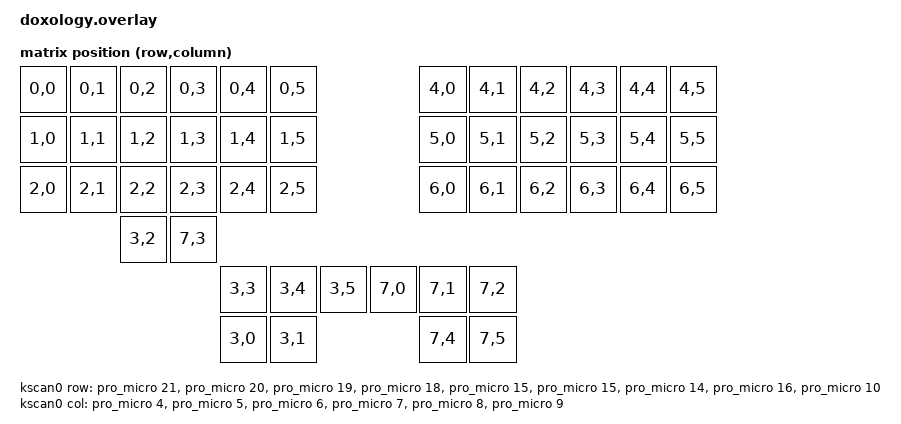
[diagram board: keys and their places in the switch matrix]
/*
 * Copyright (c) 2022 The ZMK Contributors
 *
 * SPDX-License-Identifier: MIT
 */

#include <dt-bindings/zmk/matrix_transform.h>



&pinctrl {
    spi0_default: spi0_default {
        group1 {
            psels = <NRF_PSEL(SPIM_SCK, 0, 8)>,
                <NRF_PSEL(SPIM_MOSI, 0, 17)>,
                <NRF_PSEL(SPIM_MISO, 0, 17)>;
        };
    };

    spi0_sleep: spi0_sleep {
        group1 {
            psels = <NRF_PSEL(SPIM_SCK, 0, 8)>,
                <NRF_PSEL(SPIM_MOSI, 0, 17)>,
                <NRF_PSEL(SPIM_MISO, 0, 17)>;
            low-power-enable;
        };
    };
};

&spi0 {
    status = "okay";
    compatible = "nordic,nrf-spim";
    pinctrl-0 = <&spi0_default>;
    pinctrl-1 = <&spi0_sleep>;
    pinctrl-names = "default", "sleep";
    cs-gpios = <&gpio0 20 GPIO_ACTIVE_LOW>;

    trackball: trackball@0 {
        status = "okay";
        compatible = "pixart,pmw3610";
        reg = <0>;
        spi-max-frequency = <2000000>;
        irq-gpios = <&gpio0 6 (GPIO_ACTIVE_LOW | GPIO_PULL_UP)>;
        cpi = <600>;
        evt-type = <INPUT_EV_REL>;
        x-input-code = <INPUT_REL_X>;
        y-input-code = <INPUT_REL_Y>;
    };
};

/ {
  trackball_listener {
    compatible = "zmk,input-listener";
    device = <&trackball>;
  };
   
    chosen {
        zmk,kscan = &kscan0;
        zmk,matrix-transform = &default_transform;
    /delete-property/ zephyr,console;
    /delete-property/ zephyr,shell-uart;
    };

    default_transform: keymap_transform_0 {
        compatible = "zmk,matrix-transform";
        columns = <6>;
        rows = <4>;
        map = <
            RC(0,0) RC(0,1) RC(0,2) RC(0,3) RC(0,4) RC(0,5)                      RC(4,0) RC(4,1) RC(4,2) RC(4,3) RC(4,4) RC(4,5)
            RC(1,0) RC(1,1) RC(1,2) RC(1,3) RC(1,4) RC(1,5)                      RC(5,0) RC(5,1) RC(5,2) RC(5,3) RC(5,4) RC(5,5)
            RC(2,0) RC(2,1) RC(2,2) RC(2,3) RC(2,4) RC(2,5)                      RC(6,0) RC(6,1) RC(6,2) RC(6,3) RC(6,4) RC(6,5)
                            RC(3,2) RC(7,3)

                                            RC(3,3) RC(3,4) RC(3,5)      RC(7,0) RC(7,1) RC(7,2)
                                            RC(3,0) RC(3,1)                      RC(7,4) RC(7,5)
        >;
    };


    kscan0: kscan_0 {
        compatible = "zmk,kscan-gpio-matrix";
        wakeup-source;

        diode-direction = "col2row"; // Put the black side of diodes to the row wire


	col-gpios
		= <&pro_micro 4 (GPIO_ACTIVE_HIGH | GPIO_PULL_DOWN)>
		, <&pro_micro 5 (GPIO_ACTIVE_HIGH | GPIO_PULL_DOWN)>
		, <&pro_micro 6 (GPIO_ACTIVE_HIGH | GPIO_PULL_DOWN)>
		, <&pro_micro 7 (GPIO_ACTIVE_HIGH | GPIO_PULL_DOWN)>
		, <&pro_micro 8 (GPIO_ACTIVE_HIGH | GPIO_PULL_DOWN)>
		, <&pro_micro 9 (GPIO_ACTIVE_HIGH | GPIO_PULL_DOWN)>
		;

	row-gpios =
		// left half
		  <&pro_micro 21 GPIO_ACTIVE_HIGH>
		, <&pro_micro 20 GPIO_ACTIVE_HIGH>
		, <&pro_micro 19 GPIO_ACTIVE_HIGH>
		, <&pro_micro 18 GPIO_ACTIVE_HIGH>

		// right half
		, <&pro_micro 15 GPIO_ACTIVE_HIGH>
		, <&pro_micro 15 GPIO_ACTIVE_HIGH>
		, <&pro_micro 14 GPIO_ACTIVE_HIGH>
		, <&pro_micro 16 GPIO_ACTIVE_HIGH>
		, <&pro_micro 10 GPIO_ACTIVE_HIGH>
		;

    };

};

&trackball {
    status = "okay";
};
